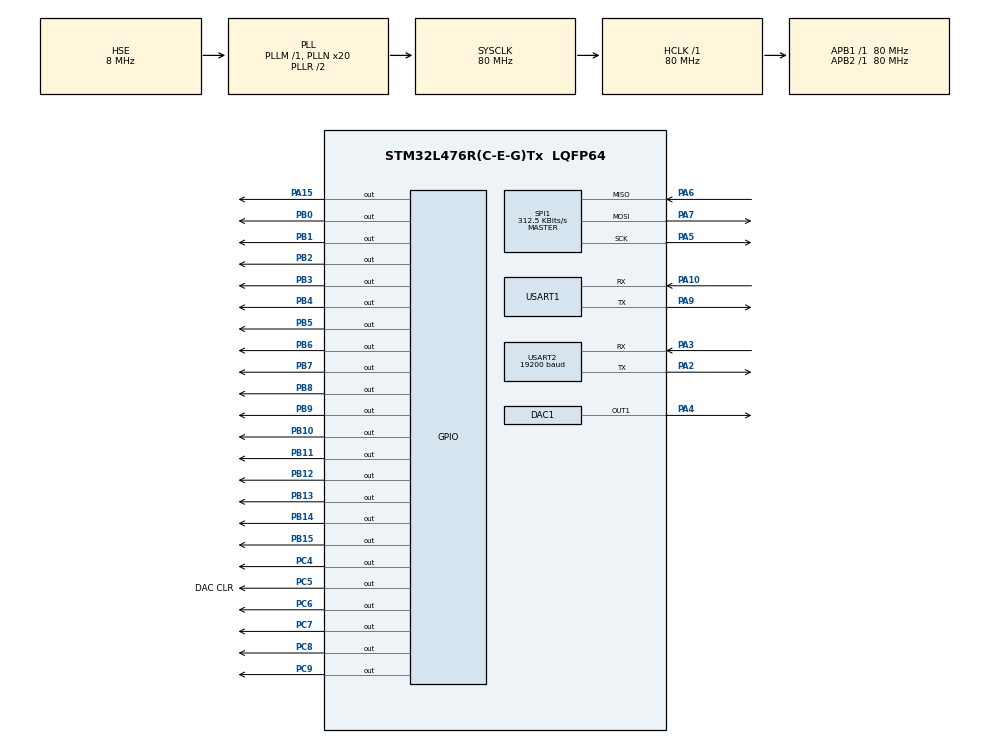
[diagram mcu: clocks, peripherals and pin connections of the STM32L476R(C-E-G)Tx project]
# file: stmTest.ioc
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Dma.Request0=TIM2_UP
Dma.TIM2_UP.0.Direction=DMA_MEMORY_TO_PERIPH
Dma.TIM2_UP.0.Instance=DMA1_Channel2
Dma.TIM2_UP.0.MemDataAlignment=DMA_MDATAALIGN_WORD
Dma.TIM2_UP.0.MemInc=DMA_MINC_ENABLE
Dma.TIM2_UP.0.Mode=DMA_CIRCULAR
Dma.TIM2_UP.0.PeriphDataAlignment=DMA_PDATAALIGN_WORD
Dma.TIM2_UP.0.PeriphInc=DMA_PINC_DISABLE
Dma.TIM2_UP.0.Priority=DMA_PRIORITY_VERY_HIGH
Mcu.Family=STM32L4
Mcu.Name=STM32L476R(C-E-G)Tx
Mcu.Package=LQFP64
NVIC.DMA1_Channel2_IRQn=true\:0\:0\:false\:false\:true\:false\:true\:true
NVIC.PriorityGroup=NVIC_PRIORITYGROUP_4
NVIC.USART1_IRQn=true\:0\:0\:false\:false\:true\:true\:true\:true
NVIC.USART2_IRQn=true\:0\:0\:false\:false\:true\:true\:true\:true
PA10.Mode=Asynchronous
PA10.Signal=USART1_RX
PA13\ (JTMS-SWDIO).Mode=Serial_Wire
PA13\ (JTMS-SWDIO).Signal=SYS_JTMS-SWDIO
PA14\ (JTCK-SWCLK).Mode=Serial_Wire
PA14\ (JTCK-SWCLK).Signal=SYS_JTCK-SWCLK
PA15\ (JTDI).Signal=GPIO_Output
PA2.Mode=Asynchronous
PA2.Signal=USART2_TX
PA3.Mode=Asynchronous
PA3.Signal=USART2_RX
PA4.Signal=COMP_DAC11_group
PA5.Mode=Full_Duplex_Master
PA5.Signal=SPI1_SCK
PA6.Mode=Full_Duplex_Master
PA6.Signal=SPI1_MISO
PA7.Mode=Full_Duplex_Master
PA7.Signal=SPI1_MOSI
PA9.Mode=Asynchronous
PA9.Signal=USART1_TX
PB0.Signal=GPIO_Output
PB1.Signal=GPIO_Output
PB10.Signal=GPIO_Output
PB11.Signal=GPIO_Output
PB12.Signal=GPIO_Output
PB13.Signal=GPIO_Output
PB14.Signal=GPIO_Output
PB15.Signal=GPIO_Output
PB2.Signal=GPIO_Output
PB3\ (JTDO-TRACESWO).Signal=GPIO_Output
PB4\ (NJTRST).Signal=GPIO_Output
PB5.Signal=GPIO_Output
PB6.Signal=GPIO_Output
PB7.Signal=GPIO_Output
PB8.Signal=GPIO_Output
PB9.Signal=GPIO_Output
PC4.Signal=GPIO_Output
PC5.GPIO_Label=DAC CLR
PC5.Signal=GPIO_Output
PC6.Signal=GPIO_Output
PC7.Signal=GPIO_Output
PC8.Signal=GPIO_Output
PC9.Signal=GPIO_Output
PH0-OSC_IN\ (PH0).Mode=HSE-External-Oscillator
PH0-OSC_IN\ (PH0).Signal=RCC_OSC_IN
PH1-OSC_OUT\ (PH1).Mode=HSE-External-Oscillator
PH1-OSC_OUT\ (PH1).Signal=RCC_OSC_OUT
ProjectManager.HeapSize=0x200
ProjectManager.StackSize=0x400
ProjectManager.TargetToolchain=STM32CubeIDE
RCC.ADCFreq_Value=32000000
RCC.AHBFreq_Value=80000000
RCC.APB1Freq_Value=80000000
RCC.APB1TimFreq_Value=80000000
RCC.APB2Freq_Value=80000000
RCC.APB2TimFreq_Value=80000000
RCC.CortexFreq_Value=80000000
RCC.HCLKFreq_Value=80000000
RCC.HSE_VALUE=8000000
RCC.HSI_VALUE=16000000
RCC.LSE_VALUE=32768
RCC.MSI_VALUE=4000000
RCC.PLLN=20
RCC.PLLSourceVirtual=RCC_PLLSOURCE_HSE
RCC.SYSCLKFreq_VALUE=80000000
RCC.SYSCLKSource=RCC_SYSCLKSOURCE_PLLCLK
RCC.USBFreq_Value=32000000
RCC.VCOOutputFreq_Value=160000000
SH.COMP_DAC11_group.0=DAC1_OUT1,DAC_OUT1
SPI1.BaudRatePrescaler=SPI_BAUDRATEPRESCALER_256
SPI1.CalculateBaudRate=312.5 KBits/s
SPI1.DataSize=SPI_DATASIZE_16BIT
SPI1.Direction=SPI_DIRECTION_2LINES
SPI1.Mode=SPI_MODE_MASTER
SPI1.NSSPMode=SPI_NSS_PULSE_ENABLE
SPI1.VirtualType=VM_MASTER
TIM2.AutoReloadPreload=TIM_AUTORELOAD_PRELOAD_ENABLE
TIM2.Period=320
TIM2.TIM_MasterOutputTrigger=TIM_TRGO_UPDATE
USART1.VirtualMode-Asynchronous=VM_ASYNC
USART2.BaudRate=19200
USART2.VirtualMode-Asynchronous=VM_ASYNC
VP_TIM2_VS_ClockSourceINT.Mode=Internal
board=custom

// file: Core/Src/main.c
/* USER CODE BEGIN Header */
/**
  ******************************************************************************
  * @file           : main.c
  * @brief          : Main program body
  ******************************************************************************
  * @attention
  *
  * Copyright (c) 2024 STMicroelectronics.
  * All rights reserved.
  *
  * This software is licensed under terms that can be found in the LICENSE file
  * in the root directory of this software component.
  * If no LICENSE file comes with this software, it is provided AS-IS.
  *
  ******************************************************************************
  */
/* USER CODE END Header */
#include "main.h"

/* USER CODE BEGIN Includes */
#include <math.h>
#include <stdio.h>
#include <stdbool.h>
#include "globals.h"
#include "stm32l4xx_ll_usart.h"

/* USER CODE END Includes */

DAC_HandleTypeDef hdac1;

SPI_HandleTypeDef hspi1;

TIM_HandleTypeDef htim2;
DMA_HandleTypeDef hdma_tim2_up;

UART_HandleTypeDef huart1;
UART_HandleTypeDef huart2;

/* USER CODE BEGIN PV */

extern uint8_t startParseInput1;
extern uint8_t startParseInput2;

extern uint8_t stimulationInfoCommand;

extern uint8_t Rx1_data[RX1_SIZE];
extern uint8_t Rx2_data[RX2_SIZE];

extern SPIHandler spiHandler;

/* USER CODE END PV */

void SystemClock_Config(void);
static void MX_GPIO_Init(void);
static void MX_DMA_Init(void);
static void MX_USART2_UART_Init(void);
static void MX_DAC1_Init(void);
static void MX_TIM2_Init(void);
static void MX_SPI1_Init(void);
static void MX_USART1_UART_Init(void);
/* USER CODE BEGIN PFP */

#ifdef __GNUC__
#define PUTCHAR_PROTOTYPE int __io_putchar(int ch)
#else
#define PUTCHAR_PROTOTYPE int fputc(int ch, FILE *f)
#endif

PUTCHAR_PROTOTYPE
{
  HAL_UART_Transmit(&huart2, (uint8_t *)&ch, 1, HAL_MAX_DELAY);
  return ch;
}

extern bool checkCRC();
extern volatile bool UART_timeOutOccured;

extern void fillWithBell(uint32_t* array, size_t size, double avg, double dev, double amp, double offset);

extern void parseUserInput();
extern void parseBatteryInfo();
extern void sendStimProgramInfo(uint8_t command);

extern void generateStimulationPattern();
extern void start_DMA();

extern void UART_handleTimeOut();

extern void initializeStimparams();
extern void initializeTimerSettings();
extern void enablePanel(uint8_t address);

/* USER CODE END PFP */

int main(void)
{

  /* USER CODE BEGIN 1 */
	 	generateStimulationPattern();
	    initializeTimerSettings();
	    initializeStimparams();

	    spiHandler.enableTransit = false;
	    spiHandler.data[0] = 0;
	    spiHandler.data[1] = 0;
  /* USER CODE END 1 */

  /* MCU Configuration--------------------------------------------------------*/

  /* Reset of all peripherals, Initializes the Flash interface and the Systick. */
  HAL_Init();

  /* Configure the system clock */
  SystemClock_Config();

  /* Initialize all configured peripherals */
  MX_GPIO_Init();
  MX_DMA_Init();
  MX_USART2_UART_Init();
  MX_DAC1_Init();
  MX_TIM2_Init();
  MX_SPI1_Init();
  MX_USART1_UART_Init();
  /* USER CODE BEGIN 2 */

  	//DAC CLR
  	HAL_GPIO_WritePin(GPIOC,  GPIO_PIN_5,  GPIO_PIN_SET);
  	//-HV ENABLE
  	HAL_GPIO_WritePin(GPIOC,  GPIO_PIN_7,  GPIO_PIN_RESET);
  	//+HV ENABLE
  	HAL_GPIO_WritePin(GPIOC,  GPIO_PIN_9,  GPIO_PIN_RESET);
  	//SWITCH CLR
  	HAL_GPIO_WritePin(GPIOC,  GPIO_PIN_8,  GPIO_PIN_RESET);
  	//SWITCH LATCH ENABLE
  	HAL_GPIO_WritePin(GPIOA,  GPIO_PIN_15,  GPIO_PIN_SET);
  	//PC4 sync signal
  	HAL_GPIO_WritePin(GPIOC,  GPIO_PIN_4,  GPIO_PIN_RESET);

	HAL_TIM_Base_Start_IT(&htim2);
	HAL_DAC_Start(&hdac1, DAC_CHANNEL_1);

	start_DMA();

	hdac1.Instance->DHR12R1 = 0;

	if (HAL_UART_Receive_IT(&huart1, Rx1_data, RX1_SIZE) != HAL_OK)
	{
	   Error_Handler();
	}

	if (HAL_UART_Receive_IT(&huart2, Rx2_data, RX2_SIZE) != HAL_OK)
	{
	   Error_Handler();
	}

	//enable DMA request
	TIM2->DIER |= (1 << 8);

	//disable the half transfer complete interrupt for the DMA
	__HAL_DMA_DISABLE_IT(&hdma_tim2_up, DMA_IT_HT);

	//set UART timeout to two seconds (2 seconds * (1 / 115200 baud))
	MODIFY_REG(huart1.Instance->RTOR, USART_RTOR_RTO, 230400);

	MODIFY_REG(huart2.Instance->RTOR, USART_RTOR_RTO, 230400);

	//printf("Ready \r\n");

  /* USER CODE END 2 */

  /* Infinite loop */
  /* USER CODE BEGIN WHILE */
  while (1)
  {
	if (startParseInput1 == 1)
	{
		parseUserInput();
		startParseInput1 = 0;

	}
	if (startParseInput2 == 2)
	{
		parseBatteryInfo();
		startParseInput2 = 0;
	}

	if (stimulationInfoCommand != 0x0)
	{
		sendStimProgramInfo(stimulationInfoCommand);
		stimulationInfoCommand = 0;
	}

	if (UART_timeOutOccured)
	{
	   UART_handleTimeOut();
	}

	if (spiHandler.enableTransit)
	{
		HAL_SPI_Transmit(&hspi1, (uint8_t*) spiHandler.data, 1, 100);
		GPIOA->BRR = (uint32_t) GPIO_PIN_15;
		for (int i = 0; i < 2; i++)
		{
			i--;
			i++;
		}
		GPIOA->BSRR = (uint32_t) GPIO_PIN_15;
		spiHandler.enableTransit = false;
	}
    /* USER CODE END WHILE */

  }
}

void SystemClock_Config(void)
{
  RCC_OscInitTypeDef RCC_OscInitStruct = {0};
  RCC_ClkInitTypeDef RCC_ClkInitStruct = {0};

  /** Configure the main internal regulator output voltage
  */
  if (HAL_PWREx_ControlVoltageScaling(PWR_REGULATOR_VOLTAGE_SCALE1) != HAL_OK)
  {
    Error_Handler();
  }

  /** Initializes the RCC Oscillators according to the specified parameters
  * in the RCC_OscInitTypeDef structure.
  */
  RCC_OscInitStruct.OscillatorType = RCC_OSCILLATORTYPE_HSE;
  RCC_OscInitStruct.HSEState = RCC_HSE_ON;
  RCC_OscInitStruct.PLL.PLLState = RCC_PLL_ON;
  RCC_OscInitStruct.PLL.PLLSource = RCC_PLLSOURCE_HSE;
  RCC_OscInitStruct.PLL.PLLM = 1;
  RCC_OscInitStruct.PLL.PLLN = 20;
  RCC_OscInitStruct.PLL.PLLP = RCC_PLLP_DIV7;
  RCC_OscInitStruct.PLL.PLLQ = RCC_PLLQ_DIV2;
  RCC_OscInitStruct.PLL.PLLR = RCC_PLLR_DIV2;
  if (HAL_RCC_OscConfig(&RCC_OscInitStruct) != HAL_OK)
  {
    Error_Handler();
  }

  /** Initializes the CPU, AHB and APB buses clocks
  */
  RCC_ClkInitStruct.ClockType = RCC_CLOCKTYPE_HCLK|RCC_CLOCKTYPE_SYSCLK
                              |RCC_CLOCKTYPE_PCLK1|RCC_CLOCKTYPE_PCLK2;
  RCC_ClkInitStruct.SYSCLKSource = RCC_SYSCLKSOURCE_PLLCLK;
  RCC_ClkInitStruct.AHBCLKDivider = RCC_SYSCLK_DIV1;
  RCC_ClkInitStruct.APB1CLKDivider = RCC_HCLK_DIV1;
  RCC_ClkInitStruct.APB2CLKDivider = RCC_HCLK_DIV1;

  if (HAL_RCC_ClockConfig(&RCC_ClkInitStruct, FLASH_LATENCY_4) != HAL_OK)
  {
    Error_Handler();
  }
}

static void MX_DAC1_Init(void)
{

  DAC_ChannelConfTypeDef sConfig = {0};

  /** DAC Initialization
  */
  hdac1.Instance = DAC1;
  if (HAL_DAC_Init(&hdac1) != HAL_OK)
  {
    Error_Handler();
  }

  /** DAC channel OUT1 config
  */
  sConfig.DAC_SampleAndHold = DAC_SAMPLEANDHOLD_DISABLE;
  sConfig.DAC_Trigger = DAC_TRIGGER_NONE;
  sConfig.DAC_OutputBuffer = DAC_OUTPUTBUFFER_ENABLE;
  sConfig.DAC_ConnectOnChipPeripheral = DAC_CHIPCONNECT_DISABLE;
  sConfig.DAC_UserTrimming = DAC_TRIMMING_FACTORY;
  if (HAL_DAC_ConfigChannel(&hdac1, &sConfig, DAC_CHANNEL_1) != HAL_OK)
  {
    Error_Handler();
  }

}

static void MX_SPI1_Init(void)
{

  /* SPI1 parameter configuration*/
  hspi1.Instance = SPI1;
  hspi1.Init.Mode = SPI_MODE_MASTER;
  hspi1.Init.Direction = SPI_DIRECTION_2LINES;
  hspi1.Init.DataSize = SPI_DATASIZE_16BIT;
  hspi1.Init.CLKPolarity = SPI_POLARITY_LOW;
  hspi1.Init.CLKPhase = SPI_PHASE_1EDGE;
  hspi1.Init.NSS = SPI_NSS_SOFT;
  hspi1.Init.BaudRatePrescaler = SPI_BAUDRATEPRESCALER_256;
  hspi1.Init.FirstBit = SPI_FIRSTBIT_MSB;
  hspi1.Init.TIMode = SPI_TIMODE_DISABLE;
  hspi1.Init.CRCCalculation = SPI_CRCCALCULATION_DISABLE;
  hspi1.Init.CRCPolynomial = 7;
  hspi1.Init.CRCLength = SPI_CRC_LENGTH_DATASIZE;
  hspi1.Init.NSSPMode = SPI_NSS_PULSE_ENABLE;
  if (HAL_SPI_Init(&hspi1) != HAL_OK)
  {
    Error_Handler();
  }

}

static void MX_TIM2_Init(void)
{

  TIM_ClockConfigTypeDef sClockSourceConfig = {0};
  TIM_MasterConfigTypeDef sMasterConfig = {0};

  htim2.Instance = TIM2;
  htim2.Init.Prescaler = 0;
  htim2.Init.CounterMode = TIM_COUNTERMODE_UP;
  htim2.Init.Period = 320;
  htim2.Init.ClockDivision = TIM_CLOCKDIVISION_DIV1;
  htim2.Init.AutoReloadPreload = TIM_AUTORELOAD_PRELOAD_ENABLE;
  if (HAL_TIM_Base_Init(&htim2) != HAL_OK)
  {
    Error_Handler();
  }
  sClockSourceConfig.ClockSource = TIM_CLOCKSOURCE_INTERNAL;
  if (HAL_TIM_ConfigClockSource(&htim2, &sClockSourceConfig) != HAL_OK)
  {
    Error_Handler();
  }
  sMasterConfig.MasterOutputTrigger = TIM_TRGO_UPDATE;
  sMasterConfig.MasterSlaveMode = TIM_MASTERSLAVEMODE_DISABLE;
  if (HAL_TIMEx_MasterConfigSynchronization(&htim2, &sMasterConfig) != HAL_OK)
  {
    Error_Handler();
  }

}

static void MX_USART1_UART_Init(void)
{

  huart1.Instance = USART1;
  huart1.Init.BaudRate = 115200;
  huart1.Init.WordLength = UART_WORDLENGTH_8B;
  huart1.Init.StopBits = UART_STOPBITS_1;
  huart1.Init.Parity = UART_PARITY_NONE;
  huart1.Init.Mode = UART_MODE_TX_RX;
  huart1.Init.HwFlowCtl = UART_HWCONTROL_NONE;
  huart1.Init.OverSampling = UART_OVERSAMPLING_16;
  huart1.Init.OneBitSampling = UART_ONE_BIT_SAMPLE_DISABLE;
  huart1.AdvancedInit.AdvFeatureInit = UART_ADVFEATURE_NO_INIT;
  if (HAL_UART_Init(&huart1) != HAL_OK)
  {
    Error_Handler();
  }

}

static void MX_USART2_UART_Init(void)
{

  huart2.Instance = USART2;
  huart2.Init.BaudRate = 19200;
  huart2.Init.WordLength = UART_WORDLENGTH_8B;
  huart2.Init.StopBits = UART_STOPBITS_1;
  huart2.Init.Parity = UART_PARITY_NONE;
  huart2.Init.Mode = UART_MODE_TX_RX;
  huart2.Init.HwFlowCtl = UART_HWCONTROL_NONE;
  huart2.Init.OverSampling = UART_OVERSAMPLING_16;
  huart2.Init.OneBitSampling = UART_ONE_BIT_SAMPLE_DISABLE;
  huart2.AdvancedInit.AdvFeatureInit = UART_ADVFEATURE_NO_INIT;
  if (HAL_UART_Init(&huart2) != HAL_OK)
  {
    Error_Handler();
  }

}

static void MX_DMA_Init(void)
{

  /* DMA controller clock enable */
  __HAL_RCC_DMA1_CLK_ENABLE();

  /* DMA interrupt init */
  /* DMA1_Channel2_IRQn interrupt configuration */
  HAL_NVIC_SetPriority(DMA1_Channel2_IRQn, 0, 0);
  HAL_NVIC_EnableIRQ(DMA1_Channel2_IRQn);

}

static void MX_GPIO_Init(void)
{
  GPIO_InitTypeDef GPIO_InitStruct = {0};

  /* GPIO Ports Clock Enable */
  __HAL_RCC_GPIOH_CLK_ENABLE();
  __HAL_RCC_GPIOA_CLK_ENABLE();
  __HAL_RCC_GPIOC_CLK_ENABLE();
  __HAL_RCC_GPIOB_CLK_ENABLE();

  /*Configure GPIO pin Output Level */
  HAL_GPIO_WritePin(GPIOC, GPIO_PIN_4|DAC_CLR_Pin|GPIO_PIN_6|GPIO_PIN_7
                          |GPIO_PIN_8|GPIO_PIN_9, GPIO_PIN_RESET);

  /*Configure GPIO pin Output Level */
  HAL_GPIO_WritePin(GPIOB, GPIO_PIN_0|GPIO_PIN_1|GPIO_PIN_2|GPIO_PIN_10
                          |GPIO_PIN_11|GPIO_PIN_12|GPIO_PIN_13|GPIO_PIN_14
                          |GPIO_PIN_15|GPIO_PIN_3|GPIO_PIN_4|GPIO_PIN_5
                          |GPIO_PIN_6|GPIO_PIN_7|GPIO_PIN_8|GPIO_PIN_9, GPIO_PIN_RESET);

  /*Configure GPIO pin Output Level */
  HAL_GPIO_WritePin(GPIOA, GPIO_PIN_15, GPIO_PIN_RESET);

  /*Configure GPIO pins : PC4 DAC_CLR_Pin PC6 PC7
                           PC8 PC9 */
  GPIO_InitStruct.Pin = GPIO_PIN_4|DAC_CLR_Pin|GPIO_PIN_6|GPIO_PIN_7
                          |GPIO_PIN_8|GPIO_PIN_9;
  GPIO_InitStruct.Mode = GPIO_MODE_OUTPUT_PP;
  GPIO_InitStruct.Pull = GPIO_NOPULL;
  GPIO_InitStruct.Speed = GPIO_SPEED_FREQ_LOW;
  HAL_GPIO_Init(GPIOC, &GPIO_InitStruct);

  /*Configure GPIO pins : PB0 PB1 PB2 PB10
                           PB11 PB12 PB13 PB14
                           PB15 PB3 PB4 PB5
                           PB6 PB7 PB8 PB9 */
  GPIO_InitStruct.Pin = GPIO_PIN_0|GPIO_PIN_1|GPIO_PIN_2|GPIO_PIN_10
                          |GPIO_PIN_11|GPIO_PIN_12|GPIO_PIN_13|GPIO_PIN_14
                          |GPIO_PIN_15|GPIO_PIN_3|GPIO_PIN_4|GPIO_PIN_5
                          |GPIO_PIN_6|GPIO_PIN_7|GPIO_PIN_8|GPIO_PIN_9;
  GPIO_InitStruct.Mode = GPIO_MODE_OUTPUT_PP;
  GPIO_InitStruct.Pull = GPIO_NOPULL;
  GPIO_InitStruct.Speed = GPIO_SPEED_FREQ_LOW;
  HAL_GPIO_Init(GPIOB, &GPIO_InitStruct);

  /*Configure GPIO pin : PA15 */
  GPIO_InitStruct.Pin = GPIO_PIN_15;
  GPIO_InitStruct.Mode = GPIO_MODE_OUTPUT_PP;
  GPIO_InitStruct.Pull = GPIO_NOPULL;
  GPIO_InitStruct.Speed = GPIO_SPEED_FREQ_LOW;
  HAL_GPIO_Init(GPIOA, &GPIO_InitStruct);

}

/* USER CODE BEGIN 4 */
void HAL_UART_RxCpltCallback(UART_HandleTypeDef *huart)
{

	//reset timeout interrupt registers because transfer is complete
	CLEAR_BIT(huart->Instance->CR1, USART_CR1_RTOIE);
	WRITE_REG(huart->Instance->ICR, USART_ICR_RTOCF);
	CLEAR_BIT(huart->Instance->CR2, USART_CR2_RTOEN);

	GPIOC->BSRR = (uint32_t) GPIO_PIN_6;
	if (huart == &huart1)
	{
		if (checkCRC(Rx1_data, RX1_SIZE))
		{
			if (startParseInput1 == 0)
			{
				startParseInput1 = 1;
			}
		} else
		{
			//printf("CRC error\r\n");
		}

		GPIOC->BRR = (uint32_t) GPIO_PIN_6;
		HAL_UART_Receive_IT(&huart1, Rx1_data, RX1_SIZE);

	} else if (huart == &huart2)
	{
		if (checkCRC(Rx2_data, RX2_SIZE))
		{
			if (startParseInput2 == 0)
			{
				startParseInput2 = 2;
			}
		} else
		{
			//printf("CRC error\r\n");
		}
		HAL_UART_Receive_IT(&huart2, Rx2_data, RX2_SIZE);
	}
}
/* USER CODE END 4 */

void Error_Handler(void)
{
  __disable_irq();
  while (1)
  {
  }
}
